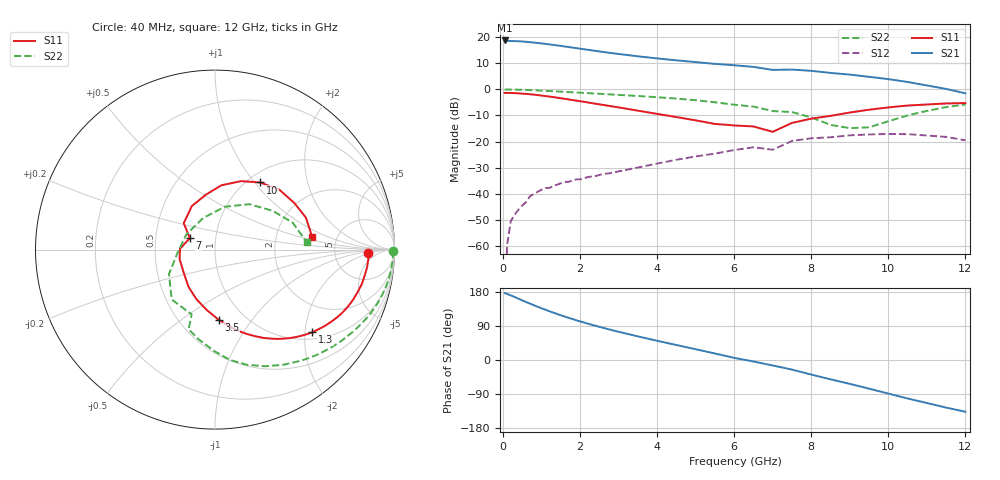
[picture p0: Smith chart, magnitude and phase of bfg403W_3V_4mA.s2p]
! Filename: 34bfg403.001
! BFG403W Field A1
! V1=8.831E-001V,V2=3.000E+000V, I1=5.742E-005A, I2=4.010E-003A
# GHz  S  MA  R 50
!  S11  S21  S12  S22
!Freq(GHz)  Mag  Ang  Mag  Ang  Mag  Ang  Mag  Ang
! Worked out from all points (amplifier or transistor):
!   44 points, 40 MHz to 12 GHz, reference 50 ohm
!   highest |S21| = 18.7 dB at 40 MHz (marker M1)
!   |S21| within 3 dB of that: start of sweep to 1.928 GHz
!   S11 on the Smith chart (normalised r, x): 40 MHz: 12, -2; 1.3 GHz: 1.17, -2.18; 3.5 GHz: 0.76, -0.70; 7 GHz: 0.75, +0.10; 10 GHz: 1.14, +1.07; 12 GHz: 3.26, +0.66
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0.04  0.853 -1.4  8.615 176.4  0 -29.9  0.989 -0.5
0.1  0.856 -3.4  8.456 174.7  0.001 95.1  0.992 -1.9
0.2  0.853 -6.8  8.415 170.4  0.003 85.1  0.99 -4.2
0.5  0.828 -16.9  8.241 157.2  0.006 77.8  0.979 -10.5
0.8  0.792 -26.3  7.85 144.6  0.01 72.7  0.96 -16.5
1  0.76 -32.2  7.565 136.5  0.012 69.3  0.944 -20.4
1.3  0.711 -40.4  7.082 125.1  0.014 65.4  0.92 -25.7
1.7  0.642 -50.3  6.452 111.3  0.017 61.6  0.886 -32.3
2.2  0.562 -61.2  5.708 95.9  0.021 58.8  0.846 -40.2
2.8  0.476 -73.2  4.958 79.5  0.025 57.0  0.799 -49.1
3.5  0.391 -87.1  4.284 62.3  0.032 54.9  0.746 -59.4
4.5  0.295 -110.5  3.592 39.5  0.045 48.6  0.666 -74.5
5.5  0.218 -142.7  3.069 17.2  0.059 37.8  0.566 -90.3
6.5  0.195 178.4  2.687 -4.0  0.078 27.5  0.468 -108.3
7  0.154 155.6  2.355 -14.5  0.07 25.9  0.384 -109.8
7.5  0.228 139.8  2.391 -25.3  0.103 15.1  0.368 -131.0
8.5  0.311 99.1  2.062 -51.0  0.121 -10.3  0.209 -175.3
9  0.36 84.3  1.914 -63.0  0.132 -21.0  0.181 152.0
10  0.451 56.1  1.569 -88.6  0.14 -47.3  0.245 77.1
10.5  0.49 42.9  1.383 -101.6  0.139 -61.7  0.317 52.9
11.5  0.537 19.3  1.02 -125.6  0.123 -90.1  0.458 19.2
12  0.546 7.5  0.839 -136.6  0.106 -106.8  0.512 4.8
